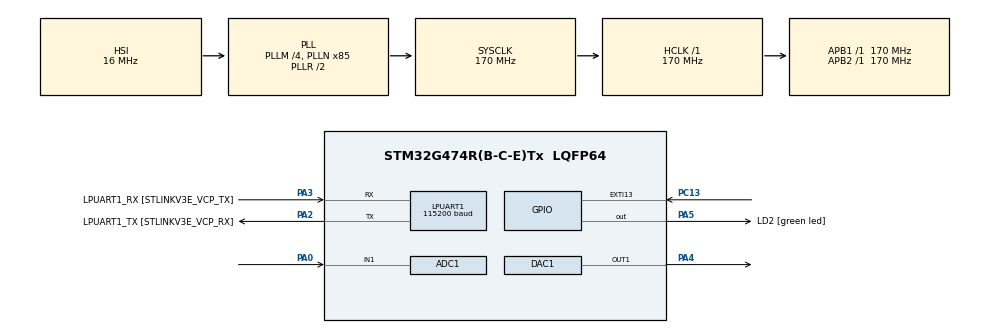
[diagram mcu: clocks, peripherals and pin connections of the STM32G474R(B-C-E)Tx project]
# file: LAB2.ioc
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ADC1.Channel-0\#ChannelRegularConversion=ADC_CHANNEL_1
ADC1.NbrOfConversionFlag=1
ADC1.OffsetNumber-0\#ChannelRegularConversion=ADC_OFFSET_NONE
ADC1.Rank-0\#ChannelRegularConversion=1
ADC1.Resolution=ADC_RESOLUTION_10B
ADC1.SamplingTime-0\#ChannelRegularConversion=ADC_SAMPLETIME_2CYCLES_5
ADC1.master=1
LPUART1.BaudRate=115200
LPUART1.WordLength=UART_WORDLENGTH_8B
Mcu.Family=STM32G4
Mcu.Name=STM32G474R(B-C-E)Tx
Mcu.Package=LQFP64
NVIC.EXTI15_10_IRQn=true\:0\:0\:false\:false\:true\:true\:true\:true
NVIC.PriorityGroup=NVIC_PRIORITYGROUP_4
PA0.Mode=IN1-Single-Ended
PA0.Signal=ADC1_IN1
PA13.GPIO_Label=T_SWDIO
PA13.Mode=Serial_Wire
PA13.Signal=SYS_JTMS-SWDIO
PA14.GPIO_Label=T_SWCLK
PA14.Mode=Serial_Wire
PA14.Signal=SYS_JTCK-SWCLK
PA2.GPIO_Label=LPUART1_TX [STLINKV3E_VCP_RX]
PA2.Mode=Asynchronous
PA2.Signal=LPUART1_TX
PA3.GPIO_Label=LPUART1_RX [STLINKV3E_VCP_TX]
PA3.Mode=Asynchronous
PA3.Signal=LPUART1_RX
PA4.Signal=COMP_DAC11_group
PA5.GPIO_Label=LD2 [green led]
PA5.Signal=GPIO_Output
PB3.GPIO_Label=T_SWO
PB3.Signal=SYS_JTDO-SWO
PC13.Signal=GPXTI13
PC14-OSC32_IN.Mode=LSE-External-Oscillator
PC14-OSC32_IN.Signal=RCC_OSC32_IN
PC15-OSC32_OUT.Mode=LSE-External-Oscillator
PC15-OSC32_OUT.Signal=RCC_OSC32_OUT
PF0-OSC_IN.Mode=HSE-External-Oscillator
PF0-OSC_IN.Signal=RCC_OSC_IN
PF1-OSC_OUT.Mode=HSE-External-Oscillator
PF1-OSC_OUT.Signal=RCC_OSC_OUT
ProjectManager.HeapSize=0x200
ProjectManager.StackSize=0x400
ProjectManager.TargetToolchain=STM32CubeIDE
RCC.ADC12Freq_Value=170000000
RCC.ADC345Freq_Value=170000000
RCC.AHBFreq_Value=170000000
RCC.APB1Freq_Value=170000000
RCC.APB1TimFreq_Value=170000000
RCC.APB2Freq_Value=170000000
RCC.APB2TimFreq_Value=170000000
RCC.CortexFreq_Value=170000000
RCC.EXTERNAL_CLOCK_VALUE=12288000
RCC.HCLKFreq_Value=170000000
RCC.HSE_VALUE=24000000
RCC.HSI48_VALUE=48000000
RCC.HSI_VALUE=16000000
RCC.PLLM=RCC_PLLM_DIV4
RCC.PLLN=85
RCC.RTCClockSelection=RCC_RTCCLKSOURCE_LSE
RCC.SYSCLKFreq_VALUE=170000000
RCC.SYSCLKSource=RCC_SYSCLKSOURCE_PLLCLK
RCC.USBFreq_Value=170000000
RCC.VCOOutputFreq_Value=340000000
SH.COMP_DAC11_group.0=DAC1_OUT1,DAC_OUT1
VP_SYS_VS_DBSignals.Mode=DisableDeadBatterySignals
board=NUCLEO-G474RE

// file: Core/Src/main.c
/* USER CODE BEGIN Header */
/**
  ******************************************************************************
  * @file           : main.c
  * @brief          : Main program body
  ******************************************************************************
  * @attention
  *
  * Copyright (c) 2023 STMicroelectronics.
  * All rights reserved.
  *
  * This software is licensed under terms that can be found in the LICENSE file
  * in the root directory of this software component.
  * If no LICENSE file comes with this software, it is provided AS-IS.
  *
  ******************************************************************************
  */
/* USER CODE END Header */
#include "main.h"

ADC_HandleTypeDef hadc1;

DAC_HandleTypeDef hdac1;

UART_HandleTypeDef hlpuart1;

/* USER CODE BEGIN PV */
float ADC_V_Output=0;

float DAC_V_Output=0;
uint16_t Raw_Output=0;
uint16_t DAC_Raw=0;

float Raw_input=0;
uint16_t Mode_input=0;

struct _ADC_tag
{
	ADC_ChannelConfTypeDef Config;
	float data;
};

struct _ADC_tag ADC1_Channel =
{
	.Config.Channel = ADC_CHANNEL_1,
	.Config.Rank = ADC_REGULAR_RANK_1,
	.Config.SamplingTime = ADC_SAMPLETIME_640CYCLES_5,
	.Config.SingleDiff = ADC_SINGLE_ENDED,
	.Config.OffsetNumber = ADC_OFFSET_NONE,
	.Config.Offset = 0,
	.data = 0
};

/* USER CODE END PV */

void SystemClock_Config(void);
static void MX_GPIO_Init(void);
static void MX_LPUART1_UART_Init(void);
static void MX_DAC1_Init(void);
static void MX_ADC1_Init(void);
/* USER CODE BEGIN PFP */
void DAC_Update();
void ADC_Read_blocking();
void DAC_Raw_mode();
void DAC_V_mode();
void DAC_B1();
/* USER CODE END PFP */

int main(void)
{

  /* MCU Configuration--------------------------------------------------------*/

  /* Reset of all peripherals, Initializes the Flash interface and the Systick. */
  HAL_Init();

  /* Configure the system clock */
  SystemClock_Config();

  /* Initialize all configured peripherals */
  MX_GPIO_Init();
  MX_LPUART1_UART_Init();
  MX_DAC1_Init();
  MX_ADC1_Init();
  /* USER CODE BEGIN 2 */
  HAL_DAC_SetValue(&hdac1, DAC_CHANNEL_1, DAC_ALIGN_12B_R, 2048);
  HAL_DAC_Start(&hdac1, DAC_CHANNEL_1);

  HAL_ADCEx_Calibration_Start(&hadc1, ADC_SINGLE_ENDED);
  /* USER CODE END 2 */

  /* Infinite loop */
  while (1)
  {

    /* USER CODE BEGIN 3 */
	  ADC_Read_blocking();
	  DAC_Update();

  }
  /* USER CODE END 3 */
}

void SystemClock_Config(void)
{
  RCC_OscInitTypeDef RCC_OscInitStruct = {0};
  RCC_ClkInitTypeDef RCC_ClkInitStruct = {0};

  /** Configure the main internal regulator output voltage
  */
  HAL_PWREx_ControlVoltageScaling(PWR_REGULATOR_VOLTAGE_SCALE1_BOOST);

  /** Initializes the RCC Oscillators according to the specified parameters
  * in the RCC_OscInitTypeDef structure.
  */
  RCC_OscInitStruct.OscillatorType = RCC_OSCILLATORTYPE_HSI;
  RCC_OscInitStruct.HSIState = RCC_HSI_ON;
  RCC_OscInitStruct.HSICalibrationValue = RCC_HSICALIBRATION_DEFAULT;
  RCC_OscInitStruct.PLL.PLLState = RCC_PLL_ON;
  RCC_OscInitStruct.PLL.PLLSource = RCC_PLLSOURCE_HSI;
  RCC_OscInitStruct.PLL.PLLM = RCC_PLLM_DIV4;
  RCC_OscInitStruct.PLL.PLLN = 85;
  RCC_OscInitStruct.PLL.PLLP = RCC_PLLP_DIV2;
  RCC_OscInitStruct.PLL.PLLQ = RCC_PLLQ_DIV2;
  RCC_OscInitStruct.PLL.PLLR = RCC_PLLR_DIV2;
  if (HAL_RCC_OscConfig(&RCC_OscInitStruct) != HAL_OK)
  {
    Error_Handler();
  }

  /** Initializes the CPU, AHB and APB buses clocks
  */
  RCC_ClkInitStruct.ClockType = RCC_CLOCKTYPE_HCLK|RCC_CLOCKTYPE_SYSCLK
                              |RCC_CLOCKTYPE_PCLK1|RCC_CLOCKTYPE_PCLK2;
  RCC_ClkInitStruct.SYSCLKSource = RCC_SYSCLKSOURCE_PLLCLK;
  RCC_ClkInitStruct.AHBCLKDivider = RCC_SYSCLK_DIV1;
  RCC_ClkInitStruct.APB1CLKDivider = RCC_HCLK_DIV1;
  RCC_ClkInitStruct.APB2CLKDivider = RCC_HCLK_DIV1;

  if (HAL_RCC_ClockConfig(&RCC_ClkInitStruct, FLASH_LATENCY_4) != HAL_OK)
  {
    Error_Handler();
  }
}

static void MX_ADC1_Init(void)
{

  ADC_MultiModeTypeDef multimode = {0};
  ADC_ChannelConfTypeDef sConfig = {0};

  /** Common config
  */
  hadc1.Instance = ADC1;
  hadc1.Init.ClockPrescaler = ADC_CLOCK_SYNC_PCLK_DIV4;
  hadc1.Init.Resolution = ADC_RESOLUTION_10B;
  hadc1.Init.DataAlign = ADC_DATAALIGN_RIGHT;
  hadc1.Init.GainCompensation = 0;
  hadc1.Init.ScanConvMode = ADC_SCAN_DISABLE;
  hadc1.Init.EOCSelection = ADC_EOC_SINGLE_CONV;
  hadc1.Init.LowPowerAutoWait = DISABLE;
  hadc1.Init.ContinuousConvMode = DISABLE;
  hadc1.Init.NbrOfConversion = 1;
  hadc1.Init.DiscontinuousConvMode = DISABLE;
  hadc1.Init.ExternalTrigConv = ADC_SOFTWARE_START;
  hadc1.Init.ExternalTrigConvEdge = ADC_EXTERNALTRIGCONVEDGE_NONE;
  hadc1.Init.DMAContinuousRequests = DISABLE;
  hadc1.Init.Overrun = ADC_OVR_DATA_PRESERVED;
  hadc1.Init.OversamplingMode = DISABLE;
  if (HAL_ADC_Init(&hadc1) != HAL_OK)
  {
    Error_Handler();
  }

  /** Configure the ADC multi-mode
  */
  multimode.Mode = ADC_MODE_INDEPENDENT;
  if (HAL_ADCEx_MultiModeConfigChannel(&hadc1, &multimode) != HAL_OK)
  {
    Error_Handler();
  }

  /** Configure Regular Channel
  */
  sConfig.Channel = ADC_CHANNEL_1;
  sConfig.Rank = ADC_REGULAR_RANK_1;
  sConfig.SamplingTime = ADC_SAMPLETIME_2CYCLES_5;
  sConfig.SingleDiff = ADC_SINGLE_ENDED;
  sConfig.OffsetNumber = ADC_OFFSET_NONE;
  sConfig.Offset = 0;
  if (HAL_ADC_ConfigChannel(&hadc1, &sConfig) != HAL_OK)
  {
    Error_Handler();
  }

}

static void MX_DAC1_Init(void)
{

  DAC_ChannelConfTypeDef sConfig = {0};

  /** DAC Initialization
  */
  hdac1.Instance = DAC1;
  if (HAL_DAC_Init(&hdac1) != HAL_OK)
  {
    Error_Handler();
  }

  /** DAC channel OUT1 config
  */
  sConfig.DAC_HighFrequency = DAC_HIGH_FREQUENCY_INTERFACE_MODE_AUTOMATIC;
  sConfig.DAC_DMADoubleDataMode = DISABLE;
  sConfig.DAC_SignedFormat = DISABLE;
  sConfig.DAC_SampleAndHold = DAC_SAMPLEANDHOLD_DISABLE;
  sConfig.DAC_Trigger = DAC_TRIGGER_NONE;
  sConfig.DAC_Trigger2 = DAC_TRIGGER_NONE;
  sConfig.DAC_OutputBuffer = DAC_OUTPUTBUFFER_ENABLE;
  sConfig.DAC_ConnectOnChipPeripheral = DAC_CHIPCONNECT_EXTERNAL;
  sConfig.DAC_UserTrimming = DAC_TRIMMING_FACTORY;
  if (HAL_DAC_ConfigChannel(&hdac1, &sConfig, DAC_CHANNEL_1) != HAL_OK)
  {
    Error_Handler();
  }

}

static void MX_LPUART1_UART_Init(void)
{

  hlpuart1.Instance = LPUART1;
  hlpuart1.Init.BaudRate = 115200;
  hlpuart1.Init.WordLength = UART_WORDLENGTH_8B;
  hlpuart1.Init.StopBits = UART_STOPBITS_1;
  hlpuart1.Init.Parity = UART_PARITY_NONE;
  hlpuart1.Init.Mode = UART_MODE_TX_RX;
  hlpuart1.Init.HwFlowCtl = UART_HWCONTROL_NONE;
  hlpuart1.Init.OneBitSampling = UART_ONE_BIT_SAMPLE_DISABLE;
  hlpuart1.Init.ClockPrescaler = UART_PRESCALER_DIV1;
  hlpuart1.AdvancedInit.AdvFeatureInit = UART_ADVFEATURE_NO_INIT;
  if (HAL_UART_Init(&hlpuart1) != HAL_OK)
  {
    Error_Handler();
  }
  if (HAL_UARTEx_SetTxFifoThreshold(&hlpuart1, UART_TXFIFO_THRESHOLD_1_8) != HAL_OK)
  {
    Error_Handler();
  }
  if (HAL_UARTEx_SetRxFifoThreshold(&hlpuart1, UART_RXFIFO_THRESHOLD_1_8) != HAL_OK)
  {
    Error_Handler();
  }
  if (HAL_UARTEx_DisableFifoMode(&hlpuart1) != HAL_OK)
  {
    Error_Handler();
  }

}

static void MX_GPIO_Init(void)
{
  GPIO_InitTypeDef GPIO_InitStruct = {0};

  /* GPIO Ports Clock Enable */
  __HAL_RCC_GPIOC_CLK_ENABLE();
  __HAL_RCC_GPIOF_CLK_ENABLE();
  __HAL_RCC_GPIOA_CLK_ENABLE();
  __HAL_RCC_GPIOB_CLK_ENABLE();

  /*Configure GPIO pin Output Level */
  HAL_GPIO_WritePin(LD2_GPIO_Port, LD2_Pin, GPIO_PIN_RESET);

  /*Configure GPIO pin : PC13 */
  GPIO_InitStruct.Pin = GPIO_PIN_13;
  GPIO_InitStruct.Mode = GPIO_MODE_IT_RISING;
  GPIO_InitStruct.Pull = GPIO_NOPULL;
  HAL_GPIO_Init(GPIOC, &GPIO_InitStruct);

  /*Configure GPIO pin : LD2_Pin */
  GPIO_InitStruct.Pin = LD2_Pin;
  GPIO_InitStruct.Mode = GPIO_MODE_OUTPUT_PP;
  GPIO_InitStruct.Pull = GPIO_NOPULL;
  GPIO_InitStruct.Speed = GPIO_SPEED_FREQ_LOW;
  HAL_GPIO_Init(LD2_GPIO_Port, &GPIO_InitStruct);

  /* EXTI interrupt init*/
  HAL_NVIC_SetPriority(EXTI15_10_IRQn, 0, 0);
  HAL_NVIC_EnableIRQ(EXTI15_10_IRQn);

}

/* USER CODE BEGIN 4 */
void DAC_Update()
{
	static timeStamp =0;
	if(HAL_GetTick()>timeStamp)
	{
		timeStamp = HAL_GetTick()+750;
		DAC_Raw = Raw_input;
		HAL_DAC_SetValue(&hdac1, DAC_CHANNEL_1, DAC_ALIGN_12B_R, DAC_Raw);
		if(Mode_input == 0)
		{
			DAC_Raw_mode();
		}
		else if(Mode_input == 1)
		{
			DAC_V_mode();
		}
	}

}

void DAC_V_mode()
{
	DAC_V_Output = DAC_Raw*0.80566;
}

void DAC_Raw_mode()
{
	Raw_Output = DAC_Raw;
	/*DAC_Raw_Output = V_input*1.24121212121;*/
}

void DAC_B1()
{
	if(HAL_GPIO_ReadPin(GPIOC, GPIO_PIN_13) == 1)
	{
		DAC_V_Output = ADC_V_Output;
	}
}

void HAL_GPIO_EXTI_Callback(uint16_t GPIO_Pin)
{
	if(HAL_GPIO_ReadPin(GPIOC, GPIO_PIN_13) == 1)
		{
			DAC_V_Output = ADC_V_Output;
		}
}

void ADC_Read_blocking()
{
static uint32_t TimeStamp = 0;
if( HAL_GetTick()<TimeStamp) return;
TimeStamp = HAL_GetTick()+500;

HAL_ADC_ConfigChannel(&hadc1, &ADC1_Channel.Config);
HAL_ADC_Start(&hadc1);
HAL_ADC_PollForConversion(&hadc1, 100);
ADC1_Channel.data = HAL_ADC_GetValue(&hadc1);
HAL_ADC_Stop(&hadc1);

ADC_V_Output = ADC1_Channel.data*3.22265625;

}

/* USER CODE END 4 */

void Error_Handler(void)
{
  __disable_irq();
  while (1)
  {
  }
}
